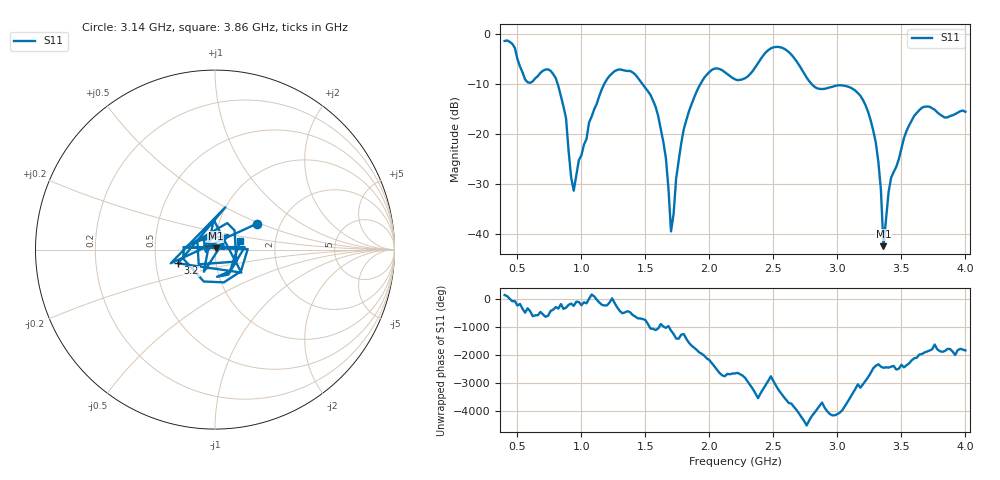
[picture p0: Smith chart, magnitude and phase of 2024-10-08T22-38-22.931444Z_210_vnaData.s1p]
! Created with skrf (http://scikit-rf.org).
# Hz S RI R 50.0
!freq ReS11 ImS11
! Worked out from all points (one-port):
!   181 points, 400 MHz to 4 GHz, reference 50 ohm
!   lowest |S11| = -42.4 dB at 3.36 GHz (marker M1), VSWR 1.02, Z = 50.3 + j0.699 ohm
!   |S11| at or under -10 dB: 815.1 MHz to 1.178 GHz (362.4 MHz wide, 36.4 % of centre); 1.478 GHz to 1.929 GHz (450.9 MHz wide, 26.5 % of centre); 2.8 GHz to end of sweep
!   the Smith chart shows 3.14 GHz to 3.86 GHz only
!   S11 on the Smith chart (normalised r, x): 3.14 GHz: 1.52, +0.47; 3.2 GHz: 0.65, -0.10; 3.86 GHz: 1.32, +0.13
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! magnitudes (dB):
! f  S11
! 400 MHz  -1.3
! 580 MHz  -9.6
! 760 MHz  -7.3
! 860 MHz  -14.5
! 940 MHz  -31.3
! 1.06 GHz  -17.6
! 1.3 GHz  -7.0
! 1.58 GHz  -14.5
! 1.66 GHz  -24.8
! 1.7 GHz  -39.4
! 1.76 GHz  -25.3
! 1.84 GHz  -15.4
! 1.96 GHz  -8.7
! 2.2 GHz  -9.0
! 2.5 GHz  -2.6
! 2.66 GHz  -4.7
! 2.84 GHz  -10.8
! 3.1 GHz  -10.6
! 3.14 GHz  -11.3
! 3.2 GHz  -13.2
! 3.3 GHz  -21.7
! 3.34 GHz  -31.1
! 3.36 GHz  -42.4
! 3.42 GHz  -28.7
! 3.56 GHz  -18.2
! 3.68 GHz  -14.5
! 3.86 GHz  -16.6
! 4 GHz  -15.5
